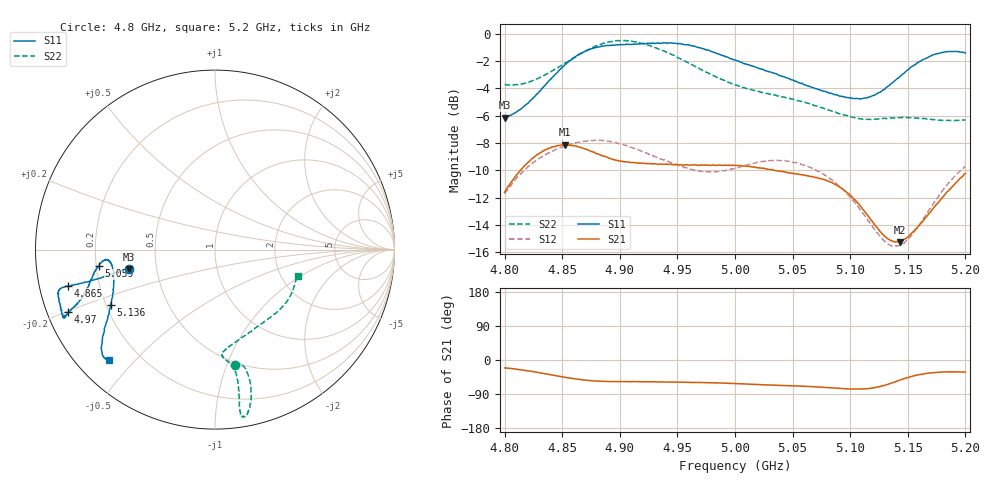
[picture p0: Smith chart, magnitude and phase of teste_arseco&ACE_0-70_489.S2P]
! Network Analyzer HP8722D
! Hewlett-Packard
! Data name: Linha & Wilkinson
! Saver's name: Rodrigo Anjos
! Comments: Teste da utilização de aquisição
! continua pelo VNA HP8722D
! Time and date: 8/5/2025 16:50
!  Frequency  S11  S21  S12  S22
# HZ  S  MA R 50
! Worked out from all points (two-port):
!   401 points, 4.8 GHz to 5.2 GHz, reference 50 ohm
!   highest |S21| = -8.12 dB at 4.852 GHz (marker M1); lowest = -15.2 dB at 5.143 GHz (marker M2)
!   |S21| within 3 dB of the highest: 4.804 GHz to 5.089 GHz (285.3 MHz wide, 5.77 % of centre); 5.18937 GHz to end of sweep
!   lowest |S11| = -6.1 dB at 4.8 GHz (marker M3), VSWR 2.95, Z = 17.1 - j4.92 ohm
!   |S11| at or under -10 dB: nowhere
!   |S22| runs from -6.4 to -0.5 dB; largest |S21 - S12| = 0.62
!   S11 on the Smith chart (normalised r, x): 4.8 GHz: 0.34, -0.10; 4.865 GHz: 0.09, -0.12; 4.97 GHz: 0.06, -0.20; 5.059 GHz: 0.21, -0.07; 5.136 GHz: 0.22, -0.24; 5.2 GHz: 0.10, -0.42
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4.8e9  0.4935 -167.3  0.2632 -21.0  0.2601 -142.0  0.6533 -80.1
4.826e9  0.5893 -166.7  0.3556 -31.4  0.3402 -146.2  0.6783 -75.9
4.852e9  0.7674 -165.9  0.3928 -45.5  0.3886 -150.8  0.7783 -75.3
4.865e9  0.8445 -166.1  0.3848 -51.3  0.4017 -152.9  0.8404 -76.1
4.867e9  0.8511 -166.1  0.3832 -52.2  0.4032 -153.2  0.8501 -76.3
4.88e9  0.8917 -165.7  0.3644 -55.6  0.4082 -155.1  0.9047 -77.6
4.899e9  0.912 -163.1  0.3429 -57.2  0.3968 -157.3  0.9446 -79.9
4.934e9  0.9254 -156.6  0.3331 -57.9  0.3512 -156.0  0.8792 -81.1
4.95e9  0.9214 -155.9  0.3314 -58.4  0.3306 -153.1  0.8202 -80.6
4.97e9  0.8882 -156.9  0.3314 -59.7  0.3144 -147.3  0.7415 -80.2
5e9  0.8036 -159.5  0.3305 -62.2  0.3227 -137.8  0.6498 -81.7
5.035e9  0.715 -166.0  0.3159 -66.6  0.3446 -135.2  0.5971 -86.0
5.059e9  0.6548 -171.9  0.3046 -69.2  0.3317 -137.2  0.5639 -84.5
5.067e9  0.6357 -173.6  0.3006 -70.2  0.3223 -138.0  0.5504 -82.6
5.082e9  0.6054 -174.8  0.288 -73.0  0.2962 -139.5  0.5253 -76.8
5.101e9  0.5837 -171.4  0.2548 -76.4  0.2499 -139.5  0.4965 -65.7
5.116e9  0.5874 -164.3  0.2144 -75.5  0.2062 -135.0  0.486 -54.8
5.134e9  0.6476 -153.1  0.1765 -62.9  0.169 -118.3  0.491 -42.8
5.136e9  0.6594 -151.9  0.1753 -60.7  0.1672 -115.8  0.4921 -41.6
5.143e9  0.6969 -148.5  0.173 -53.5  0.1682 -106.5  0.4933 -37.6
5.174e9  0.8424 -138.6  0.2349 -32.8  0.2457 -80.4  0.4843 -23.8
5.2e9  0.8504 -133.7  0.3084 -32.1  0.3272 -77.7  0.4845 -17.8
